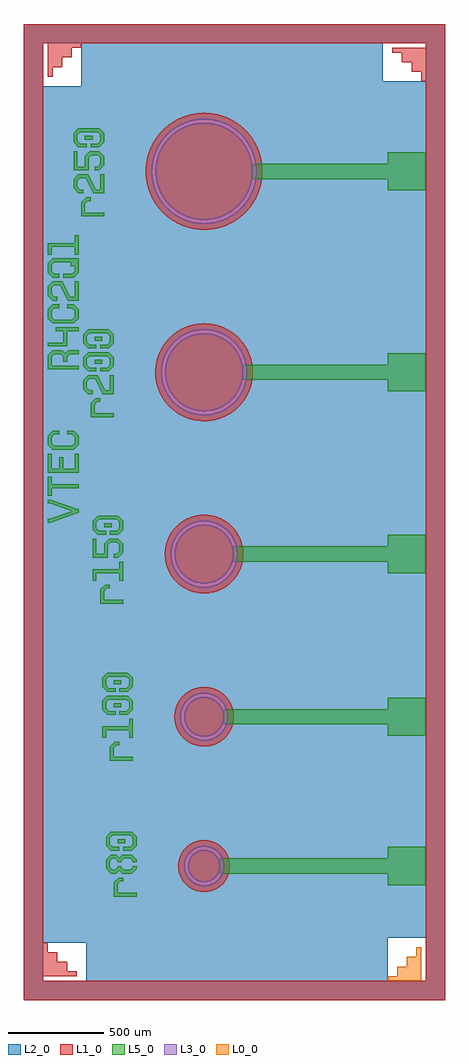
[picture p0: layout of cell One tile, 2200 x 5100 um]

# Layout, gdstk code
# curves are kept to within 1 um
from math import pi, radians
import gdstk
lib = gdstk.Library(unit=1e-6, precision=1e-09)
def R(c, l, rs):  # rectangles x0, y0, x1, y1
    for r in rs: c.add(gdstk.rectangle(r[:2], r[2:], *l))
def P(c, l, *ps):  # polygons
    for p in ps: c.add(gdstk.Polygon(p, *l))
L0_0 = (0, 0)
L1_0 = (1, 0)
L2_0 = (2, 0)
L3_0 = (3, 0)
L5_0 = (5, 0)

frame_tile = lib.new_cell('Frame Tile')
P(frame_tile, L1_0, [(0,0),(-100,-100),(-100,5000),(2100,5000),(2100,-100),(-100,-100),(0,0),(2000,0),(2000,4900),(0,4900)])

frame_tile_70 = lib.new_cell('Frame Tile_70')
P(frame_tile_70, L2_0, [(0,0),(-100,-100),(-100,5000),(2100,5000),(2100,-100),(-100,-100),(0,0),(2000,0),(2000,4900),(0,4900)])

rings_for_metal = lib.new_cell('Rings for Metal')
R(rings_for_metal, L2_0, [(-616.25,-600,958.75,-117.5), (-841.25,-400,-616.25,4075), (933.75,-375,1158.75,4100), (-616.25,-275,-275.25,3975), (278.75,-275,933.75,3975), (-275.25,120,278.75,635), (-275.25,945,278.75,1380), (-275.25,1880,278.75,2270), (-275.25,2880,278.75,3250), (-641.25,3975,933.75,4300)])
P(rings_for_metal, L2_0, [(0,85),(16.676,83.348),(32.704,78.457),(47.461,70.516),(59.834,60.373),(70.516,47.461),(78.457,32.704),(83.348,16.676),(85,0),(83.348,-16.676),(78.457,-32.704),(70.516,-47.461),(60.373,-59.834),(47.461,-70.516),(32.704,-78.457),(16.676,-83.348),(0,-85),(-16.676,-83.348),(-32.704,-78.457),(-47.461,-70.516),(-59.834,-60.373),(-70.516,-47.461),(-78.457,-32.704),(-83.348,-16.676),(-85,0),(-83.348,16.676),(-78.457,32.704),(-70.516,47.461),(-60.373,59.834),(-47.461,70.516),(-32.704,78.457),(-16.676,83.348)],
  [(0,-305),(30.108,-303.51),(59.923,-299.056),(89.152,-291.68),(117.51,-281.454),(144.72,-268.479),(168.236,-254.405),(192.528,-236.554),(214.939,-216.393),(235.251,-194.118),(253.265,-169.947),(268.804,-144.116),(281.718,-116.877),(291.879,-88.496),(299.19,-59.25),(303.577,-29.426),(304.993,-2.056),(303.706,28.062),(299.453,57.905),(292.274,87.183),(282.24,115.609),(269.449,142.906),(254.026,168.807),(236.121,193.059),(215.91,215.425),(193.589,235.687),(169.378,253.646),(143.511,269.127),(116.243,281.98),(87.84,292.077),(58.578,299.322),(28.744,303.643),(1.371,304.997),(-28.744,303.643),(-58.578,299.322),(-87.84,292.077),(-116.243,281.98),(-143.511,269.127),(-169.378,253.646),(-193.589,235.687),(-213.965,217.357),(-234.376,195.174),(-252.498,171.084),(-268.154,145.323),(-281.19,118.142),(-291.479,89.807),(-298.92,60.595),(-303.442,30.79),(-304.999,0.685),(-303.577,-29.426),(-299.19,-59.25),(-291.879,-88.496),(-281.718,-116.877),(-268.804,-144.116),(-253.265,-169.947),(-236.986,-191.996),(-216.876,-214.453),(-194.647,-234.814),(-170.516,-252.882),(-144.72,-268.479),(-117.51,-281.454),(-89.152,-291.68),(-59.923,-299.056),(-30.108,-303.51),(0,-305),(0,-100),(-22.283,-97.486),(-42.635,-90.456),(-61.01,-79.233),(-76.556,-64.336),(-88.554,-46.457),(-96.679,-25.556),(-99.909,-4.268),(-98.348,18.102),(-89.971,43.649),(-74.495,66.712),(-54.03,84.147),(-29.66,95.5),(-3.146,99.951),(23.596,97.176),(49.415,86.938),(70.79,70.631),(85.69,51.549),(95.567,29.445),(99.842,5.615),(98.266,-18.544),(93.366,-35.816),(85.921,-51.163),(75.975,-65.022),(63.819,-76.988),(49.805,-86.715),(34.343,-93.918),(16.996,-98.545),(0,-100)],
  [(0,885),(19.675,883.14),(39.528,877.276),(57.844,867.63),(73.912,854.579),(87.107,838.628),(96.917,820.399),(102.959,800.6),(105,780),(103.14,760.325),(97.276,740.472),(87.63,722.156),(74.579,706.088),(58.628,692.893),(40.399,683.083),(20.6,677.041),(0,675),(-19.675,676.86),(-39.528,682.724),(-57.844,692.37),(-73.912,705.421),(-87.107,721.372),(-96.917,739.601),(-102.959,759.4),(-105,780),(-103.14,799.675),(-97.276,819.528),(-87.63,837.844),(-74.579,853.912),(-58.628,867.107),(-40.399,876.917),(-20.6,882.959)],
  [(0,455),(32.083,456.587),(63.852,461.334),(92.2,468.352),(122.514,478.976),(151.632,492.541),(179.268,508.913),(205.153,527.934),(229.034,549.417),(250.677,573.153),(269.872,598.909),(286.431,626.434),(300.191,655.459),(311.019,685.701),(318.809,716.864),(323.484,748.644),(324.993,777.809),(323.622,809.902),(319.089,841.702),(311.44,872.9),(300.748,903.19),(287.118,932.277),(270.683,959.877),(251.604,985.719),(232.122,1007.474),(208.533,1029.277),(182.907,1048.645),(155.494,1065.389),(126.562,1079.345),(96.393,1090.376),(65.284,1098.376),(33.536,1103.265),(1.461,1104.997),(-30.629,1103.554),(-62.419,1098.95),(-93.6,1091.23),(-123.866,1080.47),(-152.922,1066.775),(-180.484,1050.278),(-206.284,1031.142),(-230.068,1009.551),(-251.604,985.719),(-270.683,959.877),(-287.118,932.277),(-300.748,903.19),(-311.44,872.9),(-318.522,844.568),(-323.34,812.809),(-324.999,780.73),(-323.484,748.644),(-318.809,716.864),(-311.019,685.701),(-300.191,655.459),(-286.431,626.434),(-269.872,598.909),(-250.677,573.153),(-229.034,549.417),(-205.153,527.934),(-179.268,508.913),(-151.632,492.541),(-122.514,478.976),(-92.2,468.352),(-63.852,461.334),(-32.083,456.587),(0,455),(0,660),(-26.74,663.017),(-51.162,671.453),(-74.063,685.583),(-93.241,704.461),(-107.729,727.137),(-116.548,751.423),(-119.985,778.112),(-117.389,804.897),(-112.977,820.451),(-106.514,835.27),(-98.117,849.087),(-87.94,861.649),(-76.166,872.729),(-63.01,882.126),(-48.71,889.669),(-33.526,895.222),(-17.733,898.683),(-1.618,899.989),(14.526,899.118),(30.407,896.084),(45.735,890.943),(60.233,883.788),(72.784,875.407),(84.948,864.757),(103.38,840.932),(114.993,814.302),(119.866,785.661),(117.5,755.631),(111.648,736.016),(102.549,717.68),(90.465,701.158),(75.749,686.929),(58.829,675.409),(40.197,666.933),(20.395,661.746),(0,660)],
  [(0,1785),(30.41,1781.988),(59.637,1773.068),(85.389,1759.359),(109.109,1740.092),(128.587,1716.547),(143.068,1689.637),(151.988,1660.41),(155,1630),(151.988,1599.59),(143.068,1570.363),(129.359,1544.611),(110.092,1520.891),(86.547,1501.413),(59.637,1486.932),(30.41,1478.012),(0,1475),(-30.41,1478.012),(-59.637,1486.932),(-85.389,1500.641),(-109.109,1519.908),(-128.587,1543.453),(-143.068,1570.363),(-151.988,1599.59),(-155,1630),(-151.988,1660.41),(-143.068,1689.637),(-129.359,1715.389),(-110.092,1739.109),(-86.547,1758.587),(-59.637,1773.068),(-30.41,1781.988)],
  [(0,1255),(37.018,1256.832),(73.675,1262.309),(109.613,1271.378),(144.479,1283.95),(177.934,1299.902),(209.651,1319.079),(239.32,1341.294),(266.651,1366.329),(291.377,1393.939),(313.256,1423.856),(332.076,1455.786),(347.652,1489.418),(358.868,1521.194),(367.856,1557.151),(373.251,1593.82),(374.999,1630.843),(373.084,1667.857),(367.525,1704.501),(358.375,1740.418),(345.725,1775.256),(329.697,1808.675),(310.449,1840.349),(290.313,1867.368),(265.463,1894.867),(238.02,1919.779),(208.251,1941.86),(179.416,1959.295),(146.033,1975.398),(111.223,1988.126),(75.327,1997.357),(38.695,2002.998),(1.685,2004.996),(-35.341,2003.331),(-72.022,1998.019),(-108,1989.112),(-142.922,1976.696),(-176.449,1960.894),(-208.251,1941.86),(-238.02,1919.779),(-265.463,1894.867),(-290.313,1867.368),(-310.449,1840.349),(-329.697,1808.675),(-345.725,1775.256),(-358.375,1740.418),(-367.525,1704.501),(-373.084,1667.857),(-374.999,1630.843),(-373.251,1593.82),(-367.856,1557.151),(-358.868,1521.194),(-347.652,1489.418),(-332.076,1455.786),(-313.256,1423.856),(-291.377,1393.939),(-266.651,1366.329),(-239.32,1341.294),(-209.651,1319.079),(-177.934,1299.902),(-144.479,1283.95),(-109.613,1271.378),(-73.675,1262.309),(-37.018,1256.832),(0,1255),(0,1460),(-19.82,1461.159),(-37.882,1464.274),(-56.945,1469.821),(-73.859,1476.883),(-91.207,1486.538),(-106.121,1497.191),(-120.882,1510.469),(-133.047,1524.177),(-144.478,1540.411),(-153.938,1557.866),(-160.809,1574.858),(-166.141,1593.983),(-169.053,1612.078),(-169.989,1631.91),(-168.796,1650.199),(-165.289,1669.741),(-158.447,1691.6),(-148.729,1712.34),(-137.218,1730.356),(-122.482,1747.89),(-105.523,1763.285),(-86.649,1776.26),(-67.606,1785.979),(-46.025,1793.651),(-23.609,1798.353),(-2.292,1799.985),(20.579,1798.75),(43.076,1794.452),(64.791,1787.169),(85.331,1777.033),(104.321,1764.228),(120.343,1750.073),(134.462,1734.019),(146.454,1716.32),(156.729,1695.849),(163.754,1675.657),(168.19,1654.743),(169.965,1633.438),(169.053,1612.078),(165.109,1589.516),(156.431,1563.447),(142.844,1537.828),(126.13,1516.021),(104.923,1496.242),(82.005,1481.087),(55.503,1469.316),(27.386,1462.22),(0,1460)],
  [(0,2785),(40.219,2781.016),(78.875,2769.219),(112.934,2751.088),(144.305,2725.606),(170.067,2694.465),(189.219,2658.875),(201.016,2620.219),(205,2580),(201.016,2539.781),(189.219,2501.125),(171.088,2467.066),(145.606,2435.695),(114.465,2409.933),(78.875,2390.781),(40.219,2378.984),(0,2375),(-40.219,2378.984),(-78.875,2390.781),(-112.934,2408.912),(-144.305,2434.394),(-170.067,2465.535),(-189.219,2501.125),(-201.016,2539.781),(-205,2580),(-201.016,2620.219),(-189.219,2658.875),(-171.088,2692.934),(-145.606,2724.305),(-114.465,2750.067),(-78.875,2769.219),(-40.219,2781.016)],
  [(0,2155),(41.954,2157.076),(83.499,2163.283),(124.228,2173.561),(163.743,2187.81),(201.658,2205.889),(237.604,2227.623),(268.277,2250.375),(299.506,2278.468),(327.809,2309.507),(352.91,2343.188),(374.563,2379.183),(392.557,2417.139),(406.717,2456.686),(416.903,2497.438),(423.017,2538.996),(424.999,2580.955),(422.829,2622.905),(416.528,2664.435),(406.159,2705.141),(391.821,2744.624),(373.657,2782.499),(351.842,2818.395),(329.021,2849.017),(300.858,2880.183),(269.756,2908.416),(239.186,2931.305),(203.338,2953.201),(165.504,2971.451),(126.053,2985.876),(85.371,2996.337),(43.855,3002.731),(1.91,3004.996),(-40.053,3003.108),(-81.625,2997.088),(-122.4,2986.993),(-161.978,2972.922),(-199.975,2955.013),(-236.018,2933.441),(-269.756,2908.416),(-300.858,2880.183),(-329.021,2849.017),(-351.842,2818.395),(-373.657,2782.499),(-391.821,2744.624),(-406.159,2705.141),(-416.528,2664.435),(-422.829,2622.905),(-424.999,2580.955),(-423.017,2538.996),(-416.903,2497.438),(-406.717,2456.686),(-392.557,2417.139),(-374.563,2379.183),(-352.91,2343.188),(-327.809,2309.507),(-299.506,2278.468),(-268.277,2250.375),(-237.604,2227.623),(-201.658,2205.889),(-163.743,2187.81),(-124.228,2173.561),(-83.499,2163.283),(-41.954,2157.076),(0,2155),(0,2360),(-25.65,2361.5),(-50.949,2365.981),(-73.694,2372.71),(-97.359,2382.715),(-119.696,2395.412),(-140.401,2410.626),(-157.819,2426.725),(-174.613,2446.171),(-189.025,2467.441),(-200.859,2490.247),(-209.954,2514.277),(-215.809,2537.262),(-219.156,2560.744),(-219.906,2586.426),(-217.657,2612.021),(-212.44,2637.179),(-203.583,2663.39),(-190.526,2690),(-174.01,2714.613),(-155.738,2735.389),(-135.004,2753.707),(-110.428,2770.278),(-83.848,2783.395),(-57.656,2792.311),(-28.593,2798.134),(-0.989,2799.998),(28.593,2798.134),(57.656,2792.311),(83.848,2783.395),(110.428,2770.278),(135.004,2753.707),(155.738,2735.389),(174.01,2714.613),(190.526,2690),(203.583,2663.39),(212.44,2637.179),(218.198,2608.103),(219.999,2580.494),(218.322,2552.878),(212.694,2523.776),(200.859,2490.247),(182.683,2457.415),(160.549,2429.587),(134.221,2405.688),(104.388,2386.343),(71.828,2372.056),(35.441,2362.873),(0,2360)],
  [(0,3885),(25.137,3883.758),(50.029,3880.044),(74.433,3873.895),(98.113,3865.37),(120.837,3854.552),(142.383,3841.547),(160.773,3827.932),(179.501,3811.12),(196.481,3792.543),(211.547,3772.383),(224.552,3750.837),(235.37,3728.113),(243.895,3704.433),(250.044,3680.029),(253.758,3655.137),(255,3630),(253.758,3604.863),(250.044,3579.971),(243.895,3555.567),(235.37,3531.887),(224.552,3509.163),(211.547,3487.617),(197.932,3469.227),(181.12,3450.499),(162.543,3433.519),(142.383,3418.453),(120.837,3405.448),(98.113,3394.63),(74.433,3386.105),(50.029,3379.956),(25.137,3376.242),(0,3375),(-25.137,3376.242),(-50.029,3379.956),(-74.433,3386.105),(-98.113,3394.63),(-120.837,3405.448),(-142.383,3418.453),(-160.773,3432.068),(-179.501,3448.88),(-196.481,3467.457),(-211.547,3487.617),(-224.552,3509.163),(-235.37,3531.887),(-243.895,3555.567),(-250.044,3579.971),(-253.758,3604.863),(-255,3630),(-253.758,3655.137),(-250.044,3680.029),(-243.895,3704.433),(-235.37,3728.113),(-224.552,3750.837),(-211.547,3772.383),(-197.932,3790.773),(-181.12,3809.501),(-162.543,3826.481),(-142.383,3841.547),(-120.837,3854.552),(-98.113,3865.37),(-74.433,3873.895),(-50.029,3880.044),(-25.137,3883.758)],
  [(0,3125),(45.332,3127.039),(94.761,3133.97),(143.265,3145.748),(190.368,3162.255),(235.612,3183.332),(278.555,3208.773),(318.776,3238.328),(355.883,3271.709),(389.514,3308.591),(419.34,3348.612),(445.069,3391.382),(466.451,3436.483),(481.939,3479.136),(494.478,3527.448),(502.186,3576.762),(504.989,3626.596),(502.858,3676.463),(495.815,3725.876),(483.929,3774.352),(467.316,3821.419),(446.137,3866.615),(420.6,3909.501),(390.955,3949.655),(360.682,3983.46),(324.028,4017.338),(284.209,4047.433),(241.613,4073.45),(196.657,4095.135),(149.781,4112.277),(101.441,4124.707),(52.11,4132.304),(2.27,4134.995),(-47.592,4132.752),(-96.99,4125.599),(-145.439,4113.604),(-192.469,4096.884),(-237.617,4075.604),(-280.445,4049.971),(-320.533,4020.235),(-357.49,3986.687),(-390.955,3949.655),(-420.6,3909.501),(-446.137,3866.615),(-467.316,3821.419),(-483.929,3774.352),(-495.815,3725.876),(-502.858,3676.463),(-504.999,3631.135),(-502.644,3581.278),(-495.379,3531.897),(-483.275,3483.474),(-466.451,3436.483),(-445.069,3391.382),(-419.34,3348.612),(-389.514,3308.591),(-355.883,3271.709),(-318.776,3238.328),(-278.555,3208.773),(-235.612,3183.332),(-190.368,3162.255),(-143.265,3145.748),(-94.761,3133.97),(-45.332,3127.039),(0,3125),(0,3360),(-31.479,3361.841),(-62.529,3367.34),(-90.442,3375.598),(-119.486,3387.878),(-146.9,3403.46),(-170.435,3420.591),(-193.687,3441.89),(-214.298,3465.755),(-231.985,3491.86),(-246.509,3519.849),(-257.67,3549.34),(-265.317,3579.932),(-269.345,3611.206),(-269.803,3640.312),(-266.761,3671.698),(-260.08,3702.515),(-247.972,3736.818),(-232.604,3767.096),(-212.064,3797.12),(-189.411,3822.415),(-161.827,3846.13),(-133.421,3864.732),(-100.656,3880.536),(-68.415,3891.188),(-35.092,3897.71),(1.213,3899.997),(37.497,3897.384),(70.76,3890.563),(105.144,3878.686),(135.525,3863.523),(165.686,3843.186),(191.133,3820.704),(215.034,3793.28),(235.031,3762.893),(250.762,3730.093),(261.342,3697.828),(267.788,3664.49),(269.994,3628.18),(267.299,3591.903),(260.403,3558.655),(245.509,3517.637),(222.84,3477.546),(195.37,3443.639),(162.797,3414.6),(125.971,3391.188),(85.854,3374.014),(43.495,3363.526),(0,3360)])
P(rings_for_metal, L3_0, [(0,-105),(20.629,-102.954),(39.582,-97.254),(57.917,-87.582),(73.996,-74.496),(87.189,-58.506),(96.985,-40.236),(103,-20.398),(104.998,-0.708),(103.09,19.935),(97.165,39.8),(87.452,58.114),(74.33,74.163),(58.31,87.321),(40.018,97.075),(21.092,102.86),(0.472,104.999),(-20.166,103.045),(-40.018,97.075),(-58.31,87.321),(-74.33,74.163),(-87.452,58.114),(-97.165,39.8),(-102.907,20.86),(-105,0.236),(-103,-20.398),(-96.985,-40.236),(-87.189,-58.506),(-73.996,-74.496),(-57.917,-87.582),(-39.582,-97.254),(-20.629,-102.954),(0,-105),(0,-80),(-20.619,-77.297),(-39.844,-69.372),(-56.378,-56.759),(-69.461,-39.688),(-76.129,-24.585),(-79.627,-7.718),(-79.433,9.506),(-75.557,26.289),(-66.63,44.277),(-53.504,59.476),(-37.006,70.926),(-18.177,77.908),(1.798,79.98),(21.659,77.012),(40.156,69.192),(56.632,56.505),(69.99,38.748),(78.107,17.301),(79.853,-4.851),(75.438,-26.628),(63.93,-48.093),(46.498,-65.1),(24.071,-76.293),(0,-80)],
  [(0,655),(24.558,657.436),(48.16,664.65),(69.884,676.36),(88.09,691.314),(103.797,710.349),(115.458,732.1),(122.619,755.717),(125,780.281),(122.508,804.834),(115.242,828.419),(103.483,850.116),(88.488,868.289),(70.349,883.325),(48.678,895.133),(25.109,902.452),(0.562,904.999),(-24.007,902.673),(-47.641,895.565),(-69.417,883.953),(-88.488,868.289),(-103.483,850.116),(-115.242,828.419),(-122.508,804.834),(-125,780.281),(-122.619,755.717),(-115.458,732.1),(-103.797,710.349),(-88.09,691.314),(-69.884,676.36),(-48.16,664.65),(-24.558,657.436),(0,655),(0,680),(-25.773,683.378),(-49.024,692.841),(-69.831,708.421),(-85.921,728.837),(-94.881,748.415),(-99.533,770.352),(-99.292,791.882),(-94.147,813.709),(-82.786,836.093),(-66.209,854.943),(-45.459,869.07),(-21.845,877.585),(3.146,879.951),(27.938,876.018),(50.97,866.035),(70.79,850.631),(80.182,839.756),(87.919,827.647),(97.634,801.626),(99.816,773.936),(97.916,759.693),(93.995,745.868),(87.704,731.959),(79.37,719.168),(69.185,707.796),(57.388,698.106),(44.254,690.325),(30.088,684.634),(15.222,681.165),(0,680)],
  [(0,1455),(34.382,1458.411),(67.423,1468.51),(97.837,1484.904),(124.437,1506.953),(146.186,1533.799),(162.238,1564.395),(171.965,1597.548),(175,1630.393),(171.512,1664.767),(161.941,1696.333),(145.753,1726.857),(123.883,1753.605),(98.488,1774.655),(68.149,1791.186),(35.153,1801.433),(0.787,1804.998),(-33.61,1801.742),(-66.697,1791.792),(-97.184,1775.534),(-123.883,1753.605),(-145.753,1726.857),(-161.941,1696.333),(-171.512,1664.767),(-175,1630.393),(-171.965,1597.548),(-162.238,1564.395),(-146.186,1533.799),(-124.437,1506.953),(-97.837,1484.904),(-67.423,1468.51),(-34.382,1458.411),(0,1455),(0,1480),(-18.827,1481.186),(-37.356,1484.726),(-55.294,1490.563),(-72.358,1498.606),(-89.363,1509.525),(-103.778,1521.694),(-116.551,1535.576),(-127.48,1550.951),(-141.89,1581.345),(-146.595,1598.22),(-149.3,1615.528),(-149.969,1633.034),(-148.593,1650.498),(-140.289,1683.094),(-132.516,1700.282),(-122.647,1716.358),(-111.742,1730.069),(-98.299,1743.302),(-83.3,1754.744),(-66.985,1764.213),(-49.61,1771.559),(-31.45,1776.666),(-12.794,1779.453),(6.066,1779.877),(24.829,1777.931),(43.2,1773.645),(60.887,1767.087),(76.455,1759.053),(92.048,1748.436),(106.185,1735.947),(120.274,1719.634),(131.879,1701.47),(140.761,1681.831),(146.736,1661.121),(149.682,1639.768),(149.636,1619.559),(146.595,1598.22),(140.526,1577.537),(130.903,1556.758),(118.229,1537.686),(103.778,1521.694),(86.082,1507.159),(66.381,1495.488),(45.133,1486.951),(22.832,1481.748),(0,1480)],
  [(0,2355),(22.211,2356.099),(44.205,2359.385),(84.818,2371.599),(104.976,2380.99),(124.109,2392.325),(142.029,2405.493),(158.562,2420.366),(173.546,2436.798),(186.835,2454.629),(207.041,2491.915),(214.725,2512.783),(220.312,2534.308),(223.746,2556.28),(224.995,2578.483),(224.046,2600.701),(220.908,2622.717),(215.612,2644.315),(208.21,2665.286),(198.774,2685.423),(187.396,2704.53),(160.7,2737.482),(144.369,2752.576),(126.628,2765.985),(107.649,2777.577),(87.62,2787.239),(66.734,2794.876),(45.196,2800.414),(23.217,2803.799),(1.011,2804.998),(-21.205,2803.999),(-43.213,2800.811),(-64.8,2795.467),(-85.753,2788.018),(-105.869,2778.536),(-124.951,2767.116),(-142.812,2753.867),(-159.278,2738.92),(-174.188,2722.421),(-187.396,2704.53),(-198.774,2685.423),(-208.21,2665.286),(-215.612,2644.315),(-220.908,2622.717),(-224.999,2580.506),(-221.098,2538.276),(-215.899,2516.654),(-208.591,2495.651),(-199.246,2475.472),(-187.954,2456.314),(-174.826,2438.364),(-159.99,2421.797),(-143.592,2406.776),(-125.79,2393.448),(-106.76,2381.941),(-86.687,2372.37),(-65.768,2364.827),(-44.205,2359.385),(-22.211,2356.099),(0,2355),(0,2380),(-25.102,2381.582),(-49.808,2386.301),(-73.725,2394.084),(-96.477,2404.808),(-117.702,2418.302),(-137.067,2434.354),(-154.263,2452.709),(-169.02,2473.078),(-180.333,2493.513),(-189.186,2515.127),(-195.46,2537.627),(-199.067,2560.704),(-199.959,2584.045),(-198.124,2607.33),(-193.586,2630.243),(-186.408,2652.47),(-175.838,2675.293),(-162.487,2696.61),(-146.567,2716.082),(-129.702,2732.242),(-109.568,2747.317),(-87.701,2759.746),(-66.147,2768.745),(-41.934,2775.554),(-17.058,2779.271),(8.088,2779.836),(33.106,2777.241),(57.6,2771.526),(81.183,2762.782),(101.94,2752.071),(122.731,2737.915),(141.58,2721.262),(160.365,2699.512),(175.838,2675.293),(187.681,2649.107),(195.648,2621.494),(199.575,2593.025),(199.382,2564.286),(195.071,2535.871),(186.732,2508.368),(176.265,2485.498),(161.962,2462.661),(145.954,2443.261),(126.248,2424.882),(98.048,2405.682),(66.994,2391.554),(33.992,2382.91),(0,2380)],
  [(0,3355),(24.686,3356.11),(51.603,3359.885),(78.015,3366.298),(103.666,3375.288),(128.304,3386.765),(151.688,3400.619),(173.591,3416.713),(193.798,3434.891),(212.112,3454.975),(228.353,3476.769),(242.364,3500.059),(254.008,3524.619),(263.17,3550.209),(269.761,3576.577),(273.468,3601.009),(274.994,3628.146),(273.834,3655.301),(269.998,3682.21),(263.526,3708.608),(254.479,3734.238),(242.946,3758.85),(229.04,3782.203),(212.896,3804.07),(194.673,3824.236),(174.548,3842.504),(152.718,3858.697),(129.396,3872.656),(107.091,3883.292),(81.564,3892.626),(55.24,3899.395),(28.377,3903.532),(1.236,3904.997),(-25.917,3903.776),(-52.816,3899.88),(-79.2,3893.348),(-104.81,3884.244),(-129.396,3872.656),(-152.718,3858.697),(-174.548,3842.504),(-194.673,3824.236),(-212.896,3804.07),(-229.04,3782.203),(-241.778,3761.029),(-253.532,3736.521),(-262.809,3710.973),(-269.518,3684.634),(-273.595,3657.762),(-274.999,3630.618),(-273.717,3603.468),(-269.761,3576.577),(-263.17,3550.209),(-254.008,3524.619),(-242.364,3500.059),(-228.353,3476.769),(-212.112,3454.975),(-193.798,3434.891),(-173.591,3416.713),(-151.688,3400.619),(-128.304,3386.765),(-103.666,3375.288),(-78.015,3366.298),(-51.603,3359.885),(-24.686,3356.11),(0,3355),(0,3380),(-38.054,3382.913),(-73.075,3390.918),(-108.616,3404.827),(-139.767,3422.72),(-161.27,3438.971),(-179.34,3455.824),(-197.049,3476.144),(-211.274,3496.347),(-225.416,3521.891),(-236.483,3548.909),(-244.325,3577.033),(-248.834,3605.88),(-249.949,3635.056),(-247.655,3664.163),(-241.983,3692.803),(-233.01,3720.588),(-219.798,3749.117),(-204.411,3773.931),(-184.73,3798.448),(-162.127,3820.302),(-136.96,3839.146),(-111.642,3853.688),(-82.683,3865.931),(-52.417,3874.443),(-21.323,3879.089),(10.11,3879.796),(41.382,3876.551),(72,3869.408),(101.479,3858.478),(127.425,3845.088),(153.413,3827.394),(176.975,3806.578),(200.456,3779.39),(219.798,3749.117),(235.368,3714.272),(245.017,3679.668),(249.606,3644.038),(249.04,3608.118),(243.333,3572.65),(232.601,3538.366),(218.172,3507.93),(201.126,3481.513),(179.34,3455.824),(154.299,3433.297),(118.623,3409.935),(81.622,3393.7),(42.49,3383.637),(0,3380)])

plating = lib.new_cell('Plating')
R(plating, L5_0, [(82.5,-40,958.75,40), (102.5,740,958.75,820), (152.5,1590,958.75,1670), (202.5,2540,958.75,2620), (252.5,3590,958.75,3670)])

ring_id = lib.new_cell('Ring ID')
R(ring_id, L5_0, [(-832.5,270,-792.5,290), (-852.5,980,-812.5,1000), (-852.5,1100,-812.5,1120), (-902.5,1921,-862.5,1941), (-952.5,2775,-912.5,2795), (-952.5,2895,-912.5,2915), (-1002.5,3945,-962.5,3965)])
P(ring_id, L5_0, [(-902.5,3545),(-1022.5,3545),(-1022.5,3619.144),(-996.644,3645),(-972.5,3645),(-972.5,3625),(-988.356,3625),(-1002.5,3610.856),(-1002.5,3565),(-902.5,3565)],
  [(-902.5,3665),(-958.68,3665),(-998.68,3745),(-1028.356,3745),(-1042.5,3730.856),(-1042.5,3699.144),(-1028.356,3685),(-1012.5,3685),(-1012.5,3665),(-1036.644,3665),(-1062.5,3690.856),(-1062.5,3739.144),(-1036.644,3765),(-986.32,3765),(-946.32,3685),(-922.5,3685),(-922.5,3765),(-902.5,3765)],
  [(-902.5,3810.856),(-928.356,3785),(-952.5,3785),(-952.5,3805),(-936.644,3805),(-922.5,3819.144),(-922.5,3850.856),(-936.644,3865),(-968.356,3865),(-982.5,3850.856),(-982.5,3785),(-1062.5,3785),(-1062.5,3885),(-1042.5,3885),(-1042.5,3805),(-1002.5,3805),(-1002.5,3859.144),(-976.644,3885),(-928.356,3885),(-902.5,3859.144)],
  [(-902.5,3930.856),(-928.356,3905),(-972.5,3905),(-972.5,3925),(-936.644,3925),(-922.5,3939.144),(-922.5,3970.856),(-936.644,3985),(-1028.356,3985),(-1042.5,3970.856),(-1042.5,3939.144),(-1028.356,3925),(-992.5,3925),(-992.5,3905),(-1036.644,3905),(-1062.5,3930.856),(-1062.5,3979.144),(-1036.644,4005),(-928.356,4005),(-902.5,3979.144)],
  [(-852.5,2495),(-972.5,2495),(-972.5,2569.144),(-946.644,2595),(-922.5,2595),(-922.5,2575),(-938.356,2575),(-952.5,2560.856),(-952.5,2515),(-852.5,2515)],
  [(-852.5,2615),(-908.68,2615),(-948.68,2695),(-978.356,2695),(-992.5,2680.856),(-992.5,2649.144),(-978.356,2635),(-962.5,2635),(-962.5,2615),(-986.644,2615),(-1012.5,2640.856),(-1012.5,2689.144),(-986.644,2715),(-936.32,2715),(-896.32,2635),(-872.5,2635),(-872.5,2715),(-852.5,2715)],
  [(-852.5,2760.856),(-878.356,2735),(-922.5,2735),(-922.5,2755),(-886.644,2755),(-872.5,2769.144),(-872.5,2800.856),(-886.644,2815),(-978.356,2815),(-992.5,2800.856),(-992.5,2769.144),(-978.356,2755),(-942.5,2755),(-942.5,2735),(-986.644,2735),(-1012.5,2760.856),(-1012.5,2809.144),(-986.644,2835),(-878.356,2835),(-852.5,2809.144)],
  [(-852.5,2880.856),(-878.356,2855),(-922.5,2855),(-922.5,2875),(-886.644,2875),(-872.5,2889.144),(-872.5,2920.856),(-886.644,2935),(-978.356,2935),(-992.5,2920.856),(-992.5,2889.144),(-978.356,2875),(-942.5,2875),(-942.5,2855),(-986.644,2855),(-1012.5,2880.856),(-1012.5,2929.144),(-986.644,2955),(-878.356,2955),(-852.5,2929.144)],
  [(-802.5,1521),(-922.5,1521),(-922.5,1595.144),(-896.644,1621),(-872.5,1621),(-872.5,1601),(-888.356,1601),(-902.5,1586.856),(-902.5,1541),(-802.5,1541)],
  [(-802.5,1641),(-822.5,1641),(-822.5,1681),(-942.5,1681),(-942.5,1641),(-962.5,1641),(-962.5,1701),(-822.5,1701),(-822.5,1741),(-802.5,1741)],
  [(-802.5,1786.856),(-828.356,1761),(-852.5,1761),(-852.5,1781),(-836.644,1781),(-822.5,1795.144),(-822.5,1826.856),(-836.644,1841),(-868.356,1841),(-882.5,1826.856),(-882.5,1761),(-962.5,1761),(-962.5,1861),(-942.5,1861),(-942.5,1781),(-902.5,1781),(-902.5,1835.144),(-876.644,1861),(-828.356,1861),(-802.5,1835.144)],
  [(-802.5,1906.856),(-828.356,1881),(-872.5,1881),(-872.5,1901),(-836.644,1901),(-822.5,1915.144),(-822.5,1946.856),(-836.644,1961),(-928.356,1961),(-942.5,1946.856),(-942.5,1915.144),(-928.356,1901),(-892.5,1901),(-892.5,1881),(-936.644,1881),(-962.5,1906.856),(-962.5,1955.144),(-936.644,1981),(-828.356,1981),(-802.5,1955.144)],
  [(-752.5,700),(-872.5,700),(-872.5,774.144),(-846.644,800),(-822.5,800),(-822.5,780),(-838.356,780),(-852.5,765.856),(-852.5,720),(-752.5,720)],
  [(-752.5,820),(-772.5,820),(-772.5,860),(-892.5,860),(-892.5,820),(-912.5,820),(-912.5,880),(-772.5,880),(-772.5,920),(-752.5,920)],
  [(-752.5,965.856),(-778.356,940),(-822.5,940),(-822.5,960),(-786.644,960),(-772.5,974.144),(-772.5,1005.856),(-786.644,1020),(-878.356,1020),(-892.5,1005.856),(-892.5,974.144),(-878.356,960),(-842.5,960),(-842.5,940),(-886.644,940),(-912.5,965.856),(-912.5,1014.144),(-886.644,1040),(-778.356,1040),(-752.5,1014.144)],
  [(-752.5,1085.856),(-778.356,1060),(-822.5,1060),(-822.5,1080),(-786.644,1080),(-772.5,1094.144),(-772.5,1125.856),(-786.644,1140),(-878.356,1140),(-892.5,1125.856),(-892.5,1094.144),(-878.356,1080),(-842.5,1080),(-842.5,1060),(-886.644,1060),(-912.5,1085.856),(-912.5,1134.144),(-886.644,1160),(-778.356,1160),(-752.5,1134.144)],
  [(-732.5,-10),(-852.5,-10),(-852.5,64.144),(-826.644,90),(-802.5,90),(-802.5,70),(-818.356,70),(-832.5,55.856),(-832.5,10),(-732.5,10)],
  [(-732.5,135.856),(-758.356,110),(-806.644,110),(-822.5,125.856),(-838.356,110),(-866.644,110),(-892.5,135.856),(-892.5,184.144),(-866.644,210),(-838.356,210),(-822.5,194.144),(-806.644,210),(-758.356,210),(-732.5,184.144),(-732.5,169.8),(-752.5,169.8),(-752.5,175.856),(-766.644,190),(-798.356,190),(-812.5,175.856),(-812.5,169.8),(-832.5,169.8),(-832.5,175.856),(-846.644,190),(-858.356,190),(-872.5,175.856),(-872.5,144.144),(-858.356,130),(-846.644,130),(-832.5,144.144),(-832.5,150.2),(-812.5,150.2),(-812.5,144.144),(-798.356,130),(-766.644,130),(-752.5,144.144),(-752.5,150.2),(-732.5,150.2)],
  [(-732.5,255.856),(-758.356,230),(-802.5,230),(-802.5,250),(-766.644,250),(-752.5,264.144),(-752.5,295.856),(-766.644,310),(-858.356,310),(-872.5,295.856),(-872.5,264.144),(-858.356,250),(-822.5,250),(-822.5,230),(-866.644,230),(-892.5,255.856),(-892.5,304.144),(-866.644,330),(-758.356,330),(-732.5,304.144)])

p_connection = lib.new_cell('P connection')
R(p_connection, L5_0, [(957.5,-100,1157.5,100), (957.5,680,1157.5,880), (957.5,1530,1157.5,1730), (957.5,2480,1157.5,2680), (957.5,3530,1157.5,3730)])

semiconductor_etch = lib.new_cell('Semiconductor Etch')
P(semiconductor_etch, L1_0, [(0,135),(25.296,132.609),(50.821,125.069),(74.371,112.667),(95.03,95.887),(111.995,75.379),(124.607,51.942),(132.376,26.486),(135,0),(132.609,-25.296),(125.069,-50.821),(112.667,-74.371),(95.887,-95.03),(75.379,-111.995),(51.942,-124.607),(26.486,-132.376),(0,-135),(-25.296,-132.609),(-50.821,-125.069),(-74.371,-112.667),(-95.03,-95.887),(-111.995,-75.379),(-124.607,-51.942),(-132.376,-26.486),(-135,0),(-132.609,25.296),(-125.069,50.821),(-112.667,74.371),(-95.887,95.03),(-75.379,111.995),(-51.942,124.607),(-26.486,132.376)],
  [(0,935),(30.41,931.988),(59.637,923.068),(85.389,909.359),(109.109,890.092),(128.587,866.547),(143.068,839.637),(151.988,810.41),(155,780),(151.988,749.59),(143.068,720.363),(129.359,694.611),(110.092,670.891),(86.547,651.413),(59.637,636.932),(30.41,628.012),(0,625),(-30.41,628.012),(-59.637,636.932),(-85.389,650.641),(-109.109,669.908),(-128.587,693.453),(-143.068,720.363),(-151.988,749.59),(-155,780),(-151.988,810.41),(-143.068,839.637),(-129.359,865.389),(-110.092,889.109),(-86.547,908.587),(-59.637,923.068),(-30.41,931.988)],
  [(0,1835),(40.219,1831.016),(78.875,1819.219),(112.934,1801.088),(144.305,1775.606),(170.067,1744.465),(189.219,1708.875),(201.016,1670.219),(205,1630),(201.016,1589.781),(189.219,1551.125),(171.088,1517.066),(145.606,1485.695),(114.465,1459.933),(78.875,1440.781),(40.219,1428.984),(0,1425),(-40.219,1428.984),(-78.875,1440.781),(-112.934,1458.912),(-144.305,1484.394),(-170.067,1515.535),(-189.219,1551.125),(-201.016,1589.781),(-205,1630),(-201.016,1670.219),(-189.219,1708.875),(-171.088,1742.934),(-145.606,1774.305),(-114.465,1800.067),(-78.875,1819.219),(-40.219,1831.016)],
  [(0,2835),(25.137,2833.758),(50.029,2830.044),(74.433,2823.895),(98.113,2815.37),(120.837,2804.552),(142.383,2791.547),(160.773,2777.932),(179.501,2761.12),(196.481,2742.543),(211.547,2722.383),(224.552,2700.837),(235.37,2678.113),(243.895,2654.433),(250.044,2630.029),(253.758,2605.137),(255,2580),(253.758,2554.863),(250.044,2529.971),(243.895,2505.567),(235.37,2481.887),(224.552,2459.163),(211.547,2437.617),(197.932,2419.227),(181.12,2400.499),(162.543,2383.519),(142.383,2368.453),(120.837,2355.448),(98.113,2344.63),(74.433,2336.105),(50.029,2329.956),(25.137,2326.242),(0,2325),(-25.137,2326.242),(-50.029,2329.956),(-74.433,2336.105),(-98.113,2344.63),(-120.837,2355.448),(-142.383,2368.453),(-160.773,2382.068),(-179.501,2398.88),(-196.481,2417.457),(-211.547,2437.617),(-224.552,2459.163),(-235.37,2481.887),(-243.895,2505.567),(-250.044,2529.971),(-253.758,2554.863),(-255,2580),(-253.758,2605.137),(-250.044,2630.029),(-243.895,2654.433),(-235.37,2678.113),(-224.552,2700.837),(-211.547,2722.383),(-197.932,2740.773),(-181.12,2759.501),(-162.543,2776.481),(-142.383,2791.547),(-120.837,2804.552),(-98.113,2815.37),(-74.433,2823.895),(-50.029,2830.044),(-25.137,2833.758)],
  [(0,3935),(30.066,3933.515),(59.838,3929.073),(86.406,3922.505),(114.819,3912.563),(142.113,3899.868),(168.024,3884.545),(192.297,3866.742),(214.697,3846.633),(235.007,3824.414),(253.026,3800.302),(268.582,3774.53),(281.521,3747.35),(291.717,3719.028),(299.073,3689.838),(303.515,3660.066),(305,3630),(303.515,3599.934),(299.073,3570.162),(292.505,3543.594),(282.563,3515.181),(269.868,3487.887),(254.545,3461.976),(236.742,3437.703),(216.633,3415.303),(194.414,3394.993),(170.302,3376.974),(144.53,3361.418),(117.35,3348.479),(89.028,3338.283),(59.838,3330.927),(30.066,3326.485),(0,3325),(-30.066,3326.485),(-59.838,3330.927),(-86.406,3337.495),(-114.819,3347.437),(-142.113,3360.132),(-168.024,3375.455),(-192.297,3393.258),(-214.697,3413.367),(-235.007,3435.586),(-253.026,3459.698),(-268.582,3485.47),(-281.521,3512.65),(-291.717,3540.972),(-299.073,3570.162),(-303.515,3599.934),(-305,3630),(-303.515,3660.066),(-299.073,3689.838),(-292.505,3716.406),(-282.563,3744.819),(-269.868,3772.113),(-254.545,3798.024),(-236.742,3822.297),(-216.633,3844.697),(-194.414,3865.007),(-170.302,3883.026),(-144.53,3898.582),(-117.35,3911.521),(-89.028,3921.717),(-59.838,3929.073),(-30.066,3933.515)])

wafer_id = lib.new_cell('Wafer ID')
P(wafer_id, L5_0, [(-605,5),(-458.688,55),(-445,55),(-445,35),(-455.312,35),(-570,-4.892),(-455.312,-45),(-445,-45),(-445,-65),(-458.688,-65),(-605,-15)],
  [(-605,-125),(-465,-125),(-465,-85),(-445,-85),(-445,-185),(-465,-185),(-465,-145),(-605,-145)],
  [(-605,-205),(-445,-205),(-445,-305),(-465,-305),(-465,-225),(-505,-225),(-505,-285),(-525,-285),(-525,-225),(-585,-225),(-585,-305),(-605,-305)],
  [(-605,-350.856),(-579.144,-325),(-470.856,-325),(-445,-350.856),(-445,-399.144),(-470.856,-425),(-505,-425),(-505,-405),(-479.144,-405),(-465,-390.856),(-465,-359.144),(-479.144,-345),(-570.856,-345),(-585,-359.144),(-585,-390.856),(-570.856,-405),(-545,-405),(-545,-425),(-579.144,-425),(-605,-399.144)],
  [(-605,-745),(-445,-745),(-445,-819.144),(-470.856,-845),(-519.144,-845),(-535,-829.144),(-550.856,-845),(-605,-845),(-605,-825),(-559.144,-825),(-545,-810.856),(-545,-785),(-525,-785),(-525,-810.856),(-510.856,-825),(-479.144,-825),(-465,-810.856),(-465,-765),(-605,-765)],
  [(-605,-945),(-545,-945),(-545,-865),(-445,-865),(-445,-885),(-525,-885),(-525,-945),(-485,-945),(-485,-965),(-605,-965)],
  [(-605,-1010.856),(-579.144,-985),(-470.856,-985),(-445,-1010.856),(-445,-1059.144),(-470.856,-1085),(-505,-1085),(-505,-1065),(-479.144,-1065),(-465,-1050.856),(-465,-1019.144),(-479.144,-1005),(-570.856,-1005),(-585,-1019.144),(-585,-1050.856),(-570.856,-1065),(-545,-1065),(-545,-1085),(-579.144,-1085),(-605,-1059.144)],
  [(-605,-1105),(-548.82,-1105),(-508.82,-1185),(-479.144,-1185),(-465,-1170.856),(-465,-1139.144),(-479.144,-1125),(-495,-1125),(-495,-1105),(-470.856,-1105),(-445,-1130.856),(-445,-1179.144),(-470.856,-1205),(-521.18,-1205),(-561.18,-1125),(-585,-1125),(-585,-1205),(-605,-1205)],
  [(-605,-1250.856),(-579.144,-1225),(-525,-1225),(-525,-1245),(-570.856,-1245),(-585,-1259.144),(-585,-1285),(-565,-1285),(-565,-1305),(-479.144,-1305),(-465,-1290.856),(-465,-1259.144),(-479.144,-1245),(-505,-1245),(-505,-1225),(-470.856,-1225),(-445,-1250.856),(-445,-1299.144),(-470.856,-1325),(-605,-1325)],
  [(-605,-1345),(-585,-1345),(-585,-1385),(-465,-1385),(-465,-1345),(-445,-1345),(-445,-1405),(-585,-1405),(-585,-1445),(-605,-1445)])

metal_corner_1_0_0_0_0 = lib.new_cell('Metal Corner:1,0,0,0,0')
R(metal_corner_1_0_0_0_0, L0_0, [(0,-25,175,0), (0,0,125,50), (0,50,75,100), (0,100,25,150)])

metal_corner_1_0_0_0_0_1 = lib.new_cell('Metal Corner:1,0,0,0,0_109')
R(metal_corner_1_0_0_0_0_1, L1_0, [(0,-25,175,0), (0,0,125,50), (0,50,75,100), (0,100,25,150)])

c_metal_corner_1_0_0_0_0_1 = lib.new_cell('Metal Corner:1,0,0,0,0_114')
R(c_metal_corner_1_0_0_0_0_1, L1_0, [(0,-25,175,0), (0,0,125,50), (0,50,75,100), (0,100,25,150)])

c_metal_corner_1_0_0_0_0_1_ = lib.new_cell('Metal Corner:1,0,0,0,0_119')
R(c_metal_corner_1_0_0_0_0_1_, L1_0, [(0,-25,175,0), (0,0,125,50), (0,50,75,100), (0,100,25,150)])

one_tile = lib.new_cell('One tile')
one_tile.add(gdstk.Reference(frame_tile, (-950,-2450)))
one_tile.add(gdstk.Reference(frame_tile_70, (-950,-2450)))
one_tile.add(gdstk.Reference(rings_for_metal, (-108.75,-1850)))
one_tile.add(gdstk.Reference(plating, (-108.75,-1850)))
one_tile.add(gdstk.Reference(ring_id, (271.25,-2000)))
one_tile.add(gdstk.Reference(p_connection, (-107.5,-1850)))
one_tile.add(gdstk.Reference(semiconductor_etch, (-108.75,-1850)))
one_tile.add(gdstk.Reference(wafer_id, (-1370,0), rotation=pi))
one_tile.add(gdstk.Reference(metal_corner_1_0_0_0_0, (1000,-2450), rotation=pi/2))
one_tile.add(gdstk.Reference(metal_corner_1_0_0_0_0_1, (1050,2400), rotation=pi))
one_tile.add(gdstk.Reference(c_metal_corner_1_0_0_0_0_1, (-950,-2400)))
one_tile.add(gdstk.Reference(c_metal_corner_1_0_0_0_0_1_, (-900,2450), rotation=3*pi/2))

lib.write_gds('One_tile.gds')
